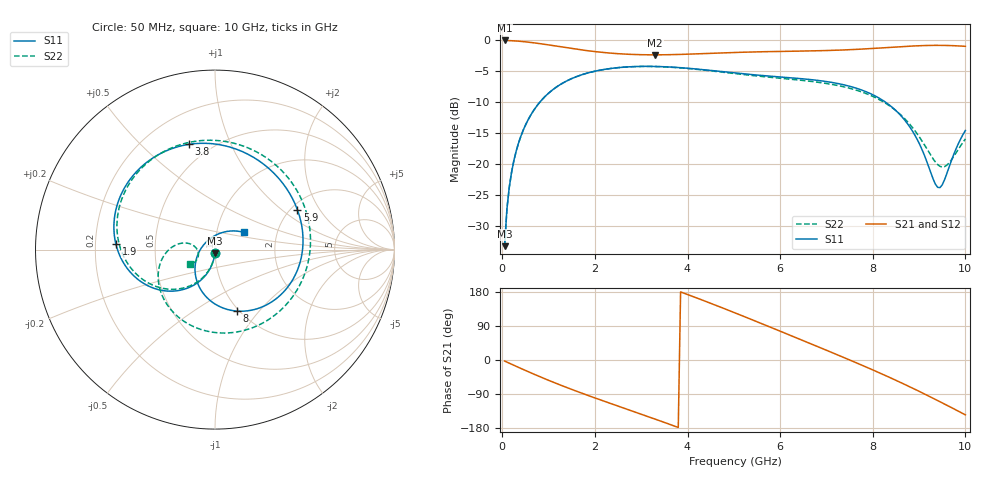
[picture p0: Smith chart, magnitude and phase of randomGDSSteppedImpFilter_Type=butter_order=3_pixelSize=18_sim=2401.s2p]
! freq	dB(S11)	phase(S11)	dB(S12)	phase(S12)
!  dB(S21)	phase(S21)	dB(S22)	phase(S22)
!S-par simulation data
#  GHz  S  DB  R 50
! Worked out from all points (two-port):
!   200 points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, 50 MHz to 10 GHz, reference 50 ohm
!   highest |S21| = -0.01 dB at 50 MHz (marker M1); lowest = -2.3 dB at 3.3 GHz (marker M2)
!   |S21| within 3 dB of the highest: start of sweep to end of sweep
!   lowest |S11| = -33.3 dB at 50 MHz (marker M3), VSWR 1.04, Z = 49.8 - j2.16 ohm
!   |S11| at or under -10 dB: start of sweep to 808.7 MHz; 8.278 GHz to end of sweep
!   |S22| runs from -33.3 to -4.2 dB; largest |S21 - S12| = 0
!   S11 on the Smith chart (normalised r, x): 50 MHz: 1.00, -0.04; 1.9 GHz: 0.29, +0.02; 3.8 GHz: 0.38, +0.71; 5.9 GHz: 2.16, +1.30; 8 GHz: 0.98, -0.77; 10 GHz: 1.35, +0.27
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0.05  -33.26 -92.8  -0.01 -2.8  -0.01 -2.8  -33.26 -93.0
0.1  -27.26 -95.7  -0.02 -5.6  -0.02 -5.6  -27.26 -96.0
0.2  -21.32 -101.4  -0.05 -11.2  -0.05 -11.2  -21.32 -101.9
0.5  -13.69 -117.5  -0.23 -27.6  -0.23 -27.6  -13.69 -118.9
1.1  -7.91 -147.6  -0.84 -58.6  -0.84 -58.6  -7.91 -150.8
1.75  -5.47 -176.7  -1.57 -89.0  -1.57 -89.0  -5.47 177.4
1.9  -5.15 177.0  -1.72 -95.7  -1.72 -95.7  -5.15 170.4
2.55  -4.36 150.9  -2.17 -123.8  -2.17 -123.8  -4.37 140.3
3.3  -4.20 122.4  -2.33 -156.0  -2.33 -156.0  -4.22 104.8
3.4  -4.22 118.7  -2.33 -160.3  -2.33 -160.3  -4.25 99.8
3.8  -4.38 103.8  -2.27 -178.1  -2.27 -178.1  -4.41 79.5
4.4  -4.77 81.7  -2.12 154.3  -2.12 154.3  -4.83 47.0
5.05  -5.28 57.9  -1.94 123.2  -1.94 123.2  -5.38 9.3
5.9  -5.85 25.9  -1.79 81.1  -1.79 81.1  -6.04 -41.1
6.7  -6.36 -7.3  -1.69 40.9  -1.69 40.9  -6.65 -86.6
7.35  -7.13 -37.1  -1.55 7.9  -1.55 7.9  -7.46 -121.1
8  -8.78 -70.3  -1.30 -26.2  -1.30 -26.2  -9.04 -153.7
8.35  -10.39 -90.3  -1.13 -45.2  -1.13 -45.2  -10.51 -170.3
8.9  -15.19 -129.1  -0.89 -76.7  -0.89 -76.7  -14.49 169.1
9.4  -23.74 143.1  -0.80 -106.9  -0.80 -106.9  -20.06 -179.9
9.6  -21.50 83.0  -0.81 -119.4  -0.81 -119.4  -20.16 -160.6
10  -14.55 30.9  -0.96 -144.8  -0.96 -144.8  -15.91 -149.4
